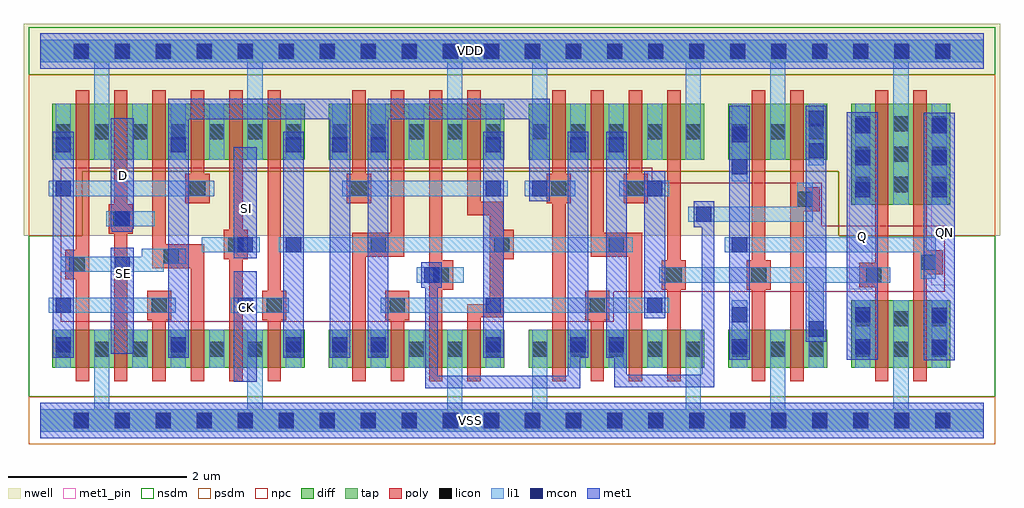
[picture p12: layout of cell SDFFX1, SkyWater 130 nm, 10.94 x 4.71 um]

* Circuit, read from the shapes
.subckt SDFFX1 CK D Q QN SE SI VDD VSS
XM1 VSS SE n1 VSS sky130_fd_pr__nfet_01v8 w=0.425 l=0.15
XM2 n2 D VSS VSS sky130_fd_pr__nfet_01v8 w=0.425 l=0.15
XM3 n3 n1 n2 VSS sky130_fd_pr__nfet_01v8 w=0.425 l=0.15
XM4 n4 SE n3 VSS sky130_fd_pr__nfet_01v8 w=0.425 l=0.15
XM5 VSS SI n4 VSS sky130_fd_pr__nfet_01v8 w=0.425 l=0.15
XM6 n5 CK VSS VSS sky130_fd_pr__nfet_01v8 w=0.425 l=0.15
XM7 n6 n5 n3 VSS sky130_fd_pr__nfet_01v8 w=0.425 l=0.15
XM8 n7 n8 n6 VSS sky130_fd_pr__nfet_01v8 w=0.425 l=0.15
XM9 VSS n9 n7 VSS sky130_fd_pr__nfet_01v8 w=0.425 l=0.15
XM10 n8 n5 VSS VSS sky130_fd_pr__nfet_01v8 w=0.425 l=0.15
XM11 n9 n6 VSS VSS sky130_fd_pr__nfet_01v8 w=0.425 l=0.15
XM12 n10 n8 n9 VSS sky130_fd_pr__nfet_01v8 w=0.425 l=0.15
XM13 n11 n5 n10 VSS sky130_fd_pr__nfet_01v8 w=0.425 l=0.15
XM14 VSS n12 n11 VSS sky130_fd_pr__nfet_01v8 w=0.425 l=0.15
XM15 VSS n12 n13 VSS sky130_fd_pr__nfet_01v8 w=0.425 l=0.15
XM16 n12 n10 VSS VSS sky130_fd_pr__nfet_01v8 w=0.425 l=0.15
XM17 VSS n12 Q VSS sky130_fd_pr__nfet_01v8 w=0.76 l=0.15
XM18 QN n13 VSS VSS sky130_fd_pr__nfet_01v8 w=0.76 l=0.15
XM19 VDD SE n1 VDD sky130_fd_pr__pfet_01v8 w=0.625 l=0.15
XM20 n14 D VDD VDD sky130_fd_pr__pfet_01v8 w=0.625 l=0.15
XM21 n3 SE n14 VDD sky130_fd_pr__pfet_01v8 w=0.625 l=0.15
XM22 n15 n1 n3 VDD sky130_fd_pr__pfet_01v8 w=0.625 l=0.15
XM23 VDD SI n15 VDD sky130_fd_pr__pfet_01v8 w=0.625 l=0.15
XM24 n5 CK VDD VDD sky130_fd_pr__pfet_01v8 w=0.625 l=0.15
XM25 n6 n8 n3 VDD sky130_fd_pr__pfet_01v8 w=0.625 l=0.15
XM26 n16 n5 n6 VDD sky130_fd_pr__pfet_01v8 w=0.625 l=0.15
XM27 VDD n9 n16 VDD sky130_fd_pr__pfet_01v8 w=0.625 l=0.15
XM28 n8 n5 VDD VDD sky130_fd_pr__pfet_01v8 w=0.625 l=0.15
XM29 n9 n6 VDD VDD sky130_fd_pr__pfet_01v8 w=0.625 l=0.15
XM30 n10 n5 n9 VDD sky130_fd_pr__pfet_01v8 w=0.625 l=0.15
XM31 n17 n8 n10 VDD sky130_fd_pr__pfet_01v8 w=0.625 l=0.15
XM32 VDD n12 n17 VDD sky130_fd_pr__pfet_01v8 w=0.625 l=0.15
XM33 VDD n12 n13 VDD sky130_fd_pr__pfet_01v8 w=0.625 l=0.15
XM34 n12 n10 VDD VDD sky130_fd_pr__pfet_01v8 w=0.625 l=0.15
XM35 VDD n12 Q VDD sky130_fd_pr__pfet_01v8 w=1.13 l=0.15
XM36 QN n13 VDD VDD sky130_fd_pr__pfet_01v8 w=1.13 l=0.15
.ends

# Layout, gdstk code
from math import pi, radians
import gdstk
lib = gdstk.Library(unit=1e-6, precision=1e-09)
def R(c, l, rs):  # rectangles x0, y0, x1, y1
    for r in rs: c.add(gdstk.rectangle(r[:2], r[2:], *l))
def A(c, l, x, y, w, h, nx, ny, dx, dy):  # array of equal rectangles
    R(c, l, [(x+i*dx, y+j*dy, x+i*dx+w, y+j*dy+h) for i in range(nx) for j in range(ny)])
def P(c, l, *ps):  # polygons
    for p in ps: c.add(gdstk.Polygon(p, *l))
nwell = (64, 20)
diff = (65, 20)
tap = (65, 44)
poly = (66, 20)
licon = (66, 44)
li1 = (67, 20)
mcon = (67, 44)
met1_pin = (68, 16)
met1 = (68, 20)
nsdm = (93, 44)
psdm = (94, 20)
npc = (95, 20)

pyl1con_c_cdns_758728262 = lib.new_cell('PYL1CON_C_CDNS_758728262102')
R(pyl1con_c_cdns_758728262, poly, [(-0.135,-0.165,0.135,0.165)])
R(pyl1con_c_cdns_758728262, licon, [(-0.085,-0.085,0.085,0.085)])
R(pyl1con_c_cdns_758728262, npc, [(-0.185,-0.185,0.185,0.185)])

l1m1_c_cdns_758728262101 = lib.new_cell('L1M1_C_CDNS_7587282621012')
R(l1m1_c_cdns_758728262101, li1, [(-0.085,-0.525,0.085,0.525)])
A(l1m1_c_cdns_758728262101, mcon, -0.085, -0.445, 0.17, 0.17, 1, 3, 0, 0.36)
R(l1m1_c_cdns_758728262101, met1, [(-0.115,-0.505,0.115,0.505)])

c_l1m1_c_cdns_758728262101 = lib.new_cell('L1M1_C_CDNS_758728262101')
R(c_l1m1_c_cdns_758728262101, li1, [(-0.085,-0.165,0.085,0.165)])
R(c_l1m1_c_cdns_758728262101, mcon, [(-0.085,-0.085,0.085,0.085)])
R(c_l1m1_c_cdns_758728262101, met1, [(-0.115,-0.145,0.115,0.145)])

l1m1_c_cdns_758728262104 = lib.new_cell('L1M1_C_CDNS_758728262104')
R(l1m1_c_cdns_758728262104, li1, [(-0.085,-0.345,0.085,0.345)])
R(l1m1_c_cdns_758728262104, mcon, [(-0.085,-0.265,0.085,-0.095), (-0.085,0.095,0.085,0.265)])
R(l1m1_c_cdns_758728262104, met1, [(-0.115,-0.325,0.115,0.325)])

l1m1_c_cdns_758728262100 = lib.new_cell('L1M1_C_CDNS_758728262100')
R(l1m1_c_cdns_758728262100, li1, [(-0.165,-0.085,0.165,0.085)])
R(l1m1_c_cdns_758728262100, mcon, [(-0.085,-0.085,0.085,0.085)])
R(l1m1_c_cdns_758728262100, met1, [(-0.115,-0.145,0.115,0.145)])

l1m1_c_cdns_758728262106 = lib.new_cell('L1M1_C_CDNS_758728262106')
R(l1m1_c_cdns_758728262106, li1, [(-0.085,-0.085,0.085,0.085)])
R(l1m1_c_cdns_758728262106, mcon, [(-0.085,-0.085,0.085,0.085)])
R(l1m1_c_cdns_758728262106, met1, [(-0.115,-0.145,0.115,0.145)])

licondiff_c_cdns_7587282 = lib.new_cell('LICONDIFF_C_CDNS_7587282621010')
R(licondiff_c_cdns_7587282, diff, [(-0.125,-0.145,0.125,0.145)])
R(licondiff_c_cdns_7587282, licon, [(-0.085,-0.085,0.085,0.085), (-0.085,-0.085,0.085,0.085)])

c_pyl1con_c_cdns_758728262 = lib.new_cell('PYL1CON_C_CDNS_7587282621017')
R(c_pyl1con_c_cdns_758728262, poly, [(-0.135,-0.29,0.135,0.29)])
R(c_pyl1con_c_cdns_758728262, licon, [(-0.085,-0.085,0.085,0.085)])
R(c_pyl1con_c_cdns_758728262, npc, [(-0.185,-0.185,0.185,0.185)])

c_pyl1con_c_cdns_758728262_ = lib.new_cell('PYL1CON_C_CDNS_7587282621020')
R(c_pyl1con_c_cdns_758728262_, poly, [(-0.135,-0.37,0.135,0.21)])
R(c_pyl1con_c_cdns_758728262_, licon, [(-0.085,-0.085,0.085,0.085)])
R(c_pyl1con_c_cdns_758728262_, npc, [(-0.185,-0.185,0.185,0.185)])

sdffx1 = lib.new_cell('SDFFX1')
R(sdffx1, nwell, [(-0.18,2.07,10.76,4.445)])
R(sdffx1, diff, [(0.135,0.59,2.965,1.015), (3.235,0.59,5.205,1.015), (5.475,0.59,7.445,1.015), (7.715,0.59,8.825,1.015), (9.095,0.59,10.205,1.35), (9.095,2.42,10.205,3.55), (0.135,2.925,2.965,3.55), (3.235,2.925,5.205,3.55), (5.475,2.925,7.445,3.55), (7.715,2.925,8.825,3.55)])
R(sdffx1, poly, [(0.4,0.44,0.55,3.7), (0.83,0.44,0.98,3.7), (1.26,0.44,1.41,1.165), (2.12,0.44,2.27,3.7), (2.55,0.44,2.7,3.7), (3.93,0.44,4.08,1.165), (4.36,0.44,4.51,3.7), (5.74,0.44,5.89,3.7), (6.17,0.44,6.32,1.165), (7.03,0.44,7.18,3.7), (7.98,0.44,8.13,3.7), (8.41,0.44,8.56,3.7), (9.36,0.44,9.51,3.7), (9.79,0.44,9.94,3.7), (1.69,2.725,1.84,3.7), (3.5,2.725,3.65,3.7), (6.6,2.725,6.75,3.7)])
P(sdffx1, poly, [(1.84,1.92),(1.41,1.92),(1.41,3.7),(1.26,3.7),(1.26,1.77),(1.69,1.77),(1.69,0.44),(1.84,0.44)],
  [(4.08,3.7),(3.93,3.7),(3.93,2.045),(3.5,2.045),(3.5,0.44),(3.65,0.44),(3.65,1.895),(4.08,1.895)],
  [(5.19,2.45),(4.94,2.45),(4.94,3.7),(4.79,3.7),(4.79,2.3),(5.04,2.3),(5.04,1.305),(4.79,1.305),(4.79,0.44),(4.94,0.44),(4.94,1.155),(5.19,1.155)],
  [(6.75,2.045),(6.32,2.045),(6.32,3.7),(6.17,3.7),(6.17,1.895),(6.6,1.895),(6.6,0.44),(6.75,0.44)])
A(sdffx1, licon, 0.375, -0.085, 0.17, 0.17, 22, 2, 0.46, 4.14)
A(sdffx1, licon, 0.605, 0.715, 0.17, 0.17, 3, 2, 0.86, 2.435)
A(sdffx1, licon, 5.515, 0.715, 0.17, 0.17, 3, 2, 0.43, 2.435)
A(sdffx1, licon, 7.755, 0.715, 0.17, 0.17, 3, 2, 0.43, 2.435)
A(sdffx1, licon, 9.135, 0.715, 0.17, 0.17, 3, 2, 0.43, 0.34)
A(sdffx1, licon, 9.135, 2.56, 0.17, 0.17, 3, 3, 0.43, 0.34)
R(sdffx1, licon, [(0.175,0.715,0.345,0.885), (2.755,0.715,2.925,0.885), (3.275,0.715,3.445,0.885), (3.705,0.715,3.875,0.885), (4.565,0.715,4.735,0.885), (4.995,0.715,5.165,0.885), (7.235,0.715,7.405,0.885), (0.175,3.15,0.345,3.32), (2.755,3.15,2.925,3.32), (3.275,3.15,3.445,3.32), (3.705,3.15,3.875,3.32), (4.565,3.15,4.735,3.32), (4.995,3.15,5.165,3.32), (7.235,3.15,7.405,3.32)])
A(sdffx1, li1, 0.175, 0.59, 0.17, 0.425, 3, 1, 1.29, 0)
A(sdffx1, li1, 0.175, 2.925, 0.17, 0.625, 3, 1, 1.29, 0)
R(sdffx1, li1, [(3.275,0.59,3.445,1.015), (3.705,0.59,3.875,1.015), (4.995,0.59,5.165,1.015), (5.945,0.59,6.115,1.015), (6.375,0.59,6.545,1.015), (7.755,0.59,7.925,1.015), (9.135,0.59,9.305,1.35), (9.995,0.59,10.165,1.35), (9.135,2.42,9.305,3.55), (9.995,2.42,10.165,3.55), (3.275,2.925,3.445,3.55), (3.705,2.925,3.875,3.55), (4.995,2.925,5.165,3.55), (5.945,2.925,6.115,3.55), (6.375,2.925,6.545,3.55), (7.755,2.925,7.925,3.55), (8.615,2.925,8.785,3.55)])
P(sdffx1, li1, [(1.635,1.925),(1.14,1.925),(1.14,1.835),(0.23,1.835),(0.23,1.665),(1.385,1.665),(1.385,1.755),(1.635,1.755)],
  [(9.53,1.715),(6.94,1.715),(6.94,1.545),(8.615,1.545),(8.615,0.59),(8.785,0.59),(8.785,1.545),(9.53,1.545)],
  [(10.58,4.265),(0,4.265),(0,4.015),(0.605,4.015),(0.605,2.925),(0.775,2.925),(0.775,4.015),(2.325,4.015),(2.325,2.925),(2.495,2.925),(2.495,4.015),(4.565,4.015),(4.565,2.925),(4.735,2.925),(4.735,4.015),(5.515,4.015),(5.515,2.925),(5.685,2.925),(5.685,4.015),(7.235,4.015),(7.235,2.925),(7.405,2.925),(7.405,4.015),(8.185,4.015),(8.185,2.925),(8.355,2.925),(8.355,4.015),(9.565,4.015),(9.565,2.42),(9.735,2.42),(9.735,4.015),(10.58,4.015)],
  [(10.58,0.125),(9.735,0.125),(9.735,1.35),(9.565,1.35),(9.565,0.125),(8.355,0.125),(8.355,1.015),(8.185,1.015),(8.185,0.125),(7.405,0.125),(7.405,1.015),(7.235,1.015),(7.235,0.125),(5.685,0.125),(5.685,1.015),(5.515,1.015),(5.515,0.125),(4.735,0.125),(4.735,1.015),(4.565,1.015),(4.565,0.125),(2.495,0.125),(2.495,1.015),(2.325,1.015),(2.325,0.125),(0.775,0.125),(0.775,1.015),(0.605,1.015),(0.605,0.125),(0,0.125),(0,-0.125),(10.58,-0.125)])
A(sdffx1, mcon, 0.375, -0.085, 0.17, 0.17, 22, 2, 0.46, 4.14)
R(sdffx1, met1_pin, [(2.17,0.435,2.43,1.675), (0.79,0.745,1.05,1.935), (9.07,1.47,9.33,2.71), (9.99,1.515,10.25,2.755), (2.17,1.82,2.43,3.06), (0.79,2.15,1.05,3.39)])
R(sdffx1, met1, [(9.905,0.675,10.25,3.45), (9.045,0.68,9.39,3.455)])
P(sdffx1, met1, [(6.145,3.235),(5.915,3.235),(5.915,0.5),(4.46,0.5),(4.46,1.64),(4.32,1.64),(4.32,0.36),(6.055,0.36),(6.055,0.705),(6.145,0.705)],
  [(7.555,2.31),(7.415,2.31),(7.415,0.515),(6.575,0.515),(6.575,3.235),(6.345,3.235),(6.345,0.705),(6.435,0.705),(6.435,0.375),(7.555,0.375)])
R(sdffx1, nsdm, [(-0.125,3.875,10.705,4.405)])
P(sdffx1, nsdm, [(10.705,2.07),(8.955,2.07),(8.955,2.795),(0.475,2.795),(0.475,2.07),(-0.125,2.07),(-0.125,0.265),(10.705,0.265)])
R(sdffx1, psdm, [(-0.125,-0.265,10.705,0.265)])
P(sdffx1, psdm, [(10.705,3.875),(-0.125,3.875),(-0.125,2.07),(0.475,2.07),(0.475,2.795),(8.955,2.795),(8.955,2.07),(10.705,2.07)])
P(sdffx1, npc, [(10.14,2.18),(8.76,2.18),(8.76,2.665),(6.86,2.665),(6.86,2.835),(0.23,2.835),(0.23,1.105),(6.43,1.105),(6.43,1.445),(10.14,1.445)])
sdffx1.add(gdstk.FlexPath([(4.75,1.63),(4.225,1.63)], 0.17, ends="flush", simple_path=True, layer=67, datatype=20))  # li1
sdffx1.add(gdstk.FlexPath([(5.435,2.6),(6,2.6)], 0.17, ends="flush", simple_path=True, layer=67, datatype=20))  # li1
sdffx1.add(gdstk.FlexPath([(3.39,2.6),(5.245,2.6)], 0.17, ends="flush", simple_path=True, layer=67, datatype=20))  # li1
sdffx1.add(gdstk.FlexPath([(0.095,1.29),(1.52,1.29)], 0.17, ends="flush", simple_path=True, layer=67, datatype=20))  # li1
sdffx1.add(gdstk.FlexPath([(4.22,2.925),(4.22,3.55)], 0.17, ends="flush", simple_path=True, layer=67, datatype=20))  # li1
sdffx1.add(gdstk.FlexPath([(4.22,0.59),(4.22,1.015)], 0.17, ends="flush", simple_path=True, layer=67, datatype=20))  # li1
sdffx1.add(gdstk.FlexPath([(2.36,1.97),(1.815,1.97)], 0.17, ends="flush", simple_path=True, layer=67, datatype=20))  # li1
sdffx1.add(gdstk.FlexPath([(2.79,1.29),(2.245,1.29)], 0.17, ends="flush", simple_path=True, layer=67, datatype=20))  # li1
sdffx1.add(gdstk.FlexPath([(2.675,1.97),(6.645,1.97)], 0.17, ends="flush", simple_path=True, layer=67, datatype=20))  # li1
sdffx1.add(gdstk.FlexPath([(6.89,0.59),(6.89,1.015)], 0.17, ends="flush", simple_path=True, layer=67, datatype=20))  # li1
sdffx1.add(gdstk.FlexPath([(6.89,2.925),(6.89,3.55)], 0.17, ends="flush", simple_path=True, layer=67, datatype=20))  # li1
sdffx1.add(gdstk.FlexPath([(6.49,2.6),(7.055,2.6)], 0.17, ends="flush", simple_path=True, layer=67, datatype=20))  # li1
sdffx1.add(gdstk.FlexPath([(0.095,2.6),(1.95,2.6)], 0.17, ends="flush", simple_path=True, layer=67, datatype=20))  # li1
sdffx1.add(gdstk.FlexPath([(1.12,2.925),(1.12,3.55)], 0.17, ends="flush", simple_path=True, layer=67, datatype=20))  # li1
sdffx1.add(gdstk.FlexPath([(1.98,2.925),(1.98,3.55)], 0.17, ends="flush", simple_path=True, layer=67, datatype=20))  # li1
sdffx1.add(gdstk.FlexPath([(7.265,2.31),(8.575,2.31),(8.575,2.665)], 0.17, ends="flush", simple_path=True, layer=67, datatype=20))  # li1
sdffx1.add(gdstk.FlexPath([(3.82,1.29),(7.055,1.29)], 0.17, ends="flush", simple_path=True, layer=67, datatype=20))  # li1
sdffx1.add(gdstk.FlexPath([(1.12,0.59),(1.12,1.015)], 0.17, ends="flush", simple_path=True, layer=67, datatype=20))  # li1
sdffx1.add(gdstk.FlexPath([(1.98,0.59),(1.98,1.015)], 0.17, ends="flush", simple_path=True, layer=67, datatype=20))  # li1
sdffx1.add(gdstk.FlexPath([(1.285,2.26),(0.74,2.26)], 0.17, ends="flush", simple_path=True, layer=67, datatype=20))  # li1
sdffx1.add(gdstk.FlexPath([(7.84,1.97),(9.955,1.97),(9.955,1.59)], 0.17, ends="flush", simple_path=True, layer=67, datatype=20))  # li1
sdffx1.add(gdstk.FlexPath([(6.89,1.145),(6.89,2.795)], 0.23, ends="flush", simple_path=True, layer=68, datatype=20))  # met1
sdffx1.add(gdstk.FlexPath([(3.79,0.705),(3.79,3.49),(5.6,3.49),(5.6,2.475)], 0.23, ends="flush", simple_path=True, layer=68, datatype=20))  # met1
sdffx1.add(gdstk.FlexPath([(1.55,0.705),(1.55,3.49),(3.36,3.49),(3.36,0.705)], 0.23, ends="flush", simple_path=True, layer=68, datatype=20))  # met1
sdffx1.add(gdstk.FlexPath([(0.26,0.705),(0.26,3.235)], 0.23, ends="flush", simple_path=True, layer=68, datatype=20))  # met1
sdffx1.add(gdstk.FlexPath([(5.08,0.705),(5.08,3.235)], 0.23, ends="flush", simple_path=True, layer=68, datatype=20))  # met1
sdffx1.add(gdstk.FlexPath([(2.84,0.705),(2.84,3.235)], 0.23, ends="flush", simple_path=True, layer=68, datatype=20))  # met1
sdffx1.add(gdstk.FlexPath([(2.3,0.435),(2.3,1.675)], 0.26, ends="flush", simple_path=True, layer=68, datatype=20))  # met1
sdffx1.add(gdstk.FlexPath([(2.3,1.82),(2.3,3.06)], 0.26, ends="flush", simple_path=True, layer=68, datatype=20))  # met1
sdffx1.add(gdstk.FlexPath([(0,4.14),(10.58,4.14)], 0.4, ends="flush", simple_path=True, layer=68, datatype=20))  # met1
sdffx1.add(gdstk.FlexPath([(0,0),(10.58,0)], 0.4, ends="flush", simple_path=True, layer=68, datatype=20))  # met1
sdffx1.add(gdstk.FlexPath([(7.84,0.68),(7.84,3.53)], 0.23, ends="flush", simple_path=True, layer=68, datatype=20))  # met1
sdffx1.add(gdstk.FlexPath([(8.7,0.88),(8.7,3.53)], 0.23, ends="flush", simple_path=True, layer=68, datatype=20))  # met1
sdffx1.add(gdstk.FlexPath([(0.92,2.15),(0.92,3.39)], 0.26, ends="flush", simple_path=True, layer=68, datatype=20))  # met1
sdffx1.add(gdstk.FlexPath([(0.92,0.745),(0.92,1.935)], 0.26, ends="flush", simple_path=True, layer=68, datatype=20))  # met1
sdffx1.add(gdstk.FlexPath([(0,0),(10.58,0)], 0.4, ends="flush", simple_path=True, layer=68, datatype=16))  # met1_pin
sdffx1.add(gdstk.FlexPath([(0,4.14),(10.58,4.14)], 0.4, ends="flush", simple_path=True, layer=68, datatype=16))  # met1_pin
sdffx1.add(gdstk.FlexPath([(0,0),(10.58,0)], 0.25, ends="flush", simple_path=True, layer=65, datatype=44))  # tap
sdffx1.add(gdstk.FlexPath([(0,4.14),(10.58,4.14)], 0.25, ends="flush", simple_path=True, layer=65, datatype=44))  # tap
sdffx1.add(gdstk.Reference(pyl1con_c_cdns_758728262, (5.815,2.6), rotation=pi))
sdffx1.add(gdstk.Reference(pyl1con_c_cdns_758728262, (8.055,1.63), rotation=pi, x_reflection=True))
sdffx1.add(gdstk.Reference(pyl1con_c_cdns_758728262, (7.105,1.63), rotation=pi, x_reflection=True))
sdffx1.add(gdstk.Reference(pyl1con_c_cdns_758728262, (5.175,1.97), rotation=pi))
sdffx1.add(gdstk.Reference(pyl1con_c_cdns_758728262, (2.625,1.29), x_reflection=True))
sdffx1.add(gdstk.Reference(pyl1con_c_cdns_758728262, (2.195,1.97), x_reflection=True))
sdffx1.add(gdstk.Reference(pyl1con_c_cdns_758728262, (1.765,2.6), rotation=pi))
sdffx1.add(gdstk.Reference(pyl1con_c_cdns_758728262, (1.335,1.29), x_reflection=True))
sdffx1.add(gdstk.Reference(pyl1con_c_cdns_758728262, (4.005,1.29), rotation=pi))
sdffx1.add(gdstk.Reference(pyl1con_c_cdns_758728262, (3.575,2.6), x_reflection=True))
sdffx1.add(gdstk.Reference(pyl1con_c_cdns_758728262, (6.675,2.6), rotation=pi))
sdffx1.add(gdstk.Reference(pyl1con_c_cdns_758728262, (6.245,1.29), x_reflection=True))
sdffx1.add(gdstk.Reference(pyl1con_c_cdns_758728262, (9.955,1.775), rotation=3*pi/2, x_reflection=True))
sdffx1.add(gdstk.Reference(pyl1con_c_cdns_758728262, (0.415,1.75)))
sdffx1.add(gdstk.Reference(pyl1con_c_cdns_758728262, (4.495,1.63)))
sdffx1.add(gdstk.Reference(pyl1con_c_cdns_758728262, (8.575,2.48), rotation=pi/2, x_reflection=True))
sdffx1.add(gdstk.Reference(pyl1con_c_cdns_758728262, (0.905,2.26)))
sdffx1.add(gdstk.Reference(pyl1con_c_cdns_758728262, (9.345,1.63), rotation=3*pi/2, x_reflection=True))
sdffx1.add(gdstk.Reference(l1m1_c_cdns_758728262101, (10.08,2.945)))
sdffx1.add(gdstk.Reference(l1m1_c_cdns_758728262101, (9.22,2.945)))
sdffx1.add(gdstk.Reference(c_l1m1_c_cdns_758728262101, (3.36,3.09)))
sdffx1.add(gdstk.Reference(c_l1m1_c_cdns_758728262101, (3.36,0.85)))
sdffx1.add(gdstk.Reference(c_l1m1_c_cdns_758728262101, (1.55,3.09)))
sdffx1.add(gdstk.Reference(c_l1m1_c_cdns_758728262101, (1.55,0.85)))
sdffx1.add(gdstk.Reference(c_l1m1_c_cdns_758728262101, (0.26,3.09)))
sdffx1.add(gdstk.Reference(c_l1m1_c_cdns_758728262101, (0.26,0.85)))
sdffx1.add(gdstk.Reference(c_l1m1_c_cdns_758728262101, (5.08,0.85), rotation=pi, x_reflection=True))
sdffx1.add(gdstk.Reference(c_l1m1_c_cdns_758728262101, (5.08,3.09), rotation=pi, x_reflection=True))
sdffx1.add(gdstk.Reference(c_l1m1_c_cdns_758728262101, (2.84,0.85)))
sdffx1.add(gdstk.Reference(c_l1m1_c_cdns_758728262101, (2.84,3.09)))
sdffx1.add(gdstk.Reference(c_l1m1_c_cdns_758728262101, (3.79,3.09)))
sdffx1.add(gdstk.Reference(c_l1m1_c_cdns_758728262101, (3.79,0.85)))
sdffx1.add(gdstk.Reference(c_l1m1_c_cdns_758728262101, (6.03,0.85)))
sdffx1.add(gdstk.Reference(c_l1m1_c_cdns_758728262101, (6.03,3.09)))
sdffx1.add(gdstk.Reference(c_l1m1_c_cdns_758728262101, (6.46,0.85), rotation=pi, x_reflection=True))
sdffx1.add(gdstk.Reference(c_l1m1_c_cdns_758728262101, (6.46,3.09), rotation=pi, x_reflection=True))
sdffx1.add(gdstk.Reference(c_l1m1_c_cdns_758728262101, (8.7,1.025), rotation=pi, x_reflection=True))
sdffx1.add(gdstk.Reference(l1m1_c_cdns_758728262104, (8.7,3.205), rotation=pi, x_reflection=True))
sdffx1.add(gdstk.Reference(l1m1_c_cdns_758728262104, (10.08,1)))
sdffx1.add(gdstk.Reference(l1m1_c_cdns_758728262104, (9.22,1.005)))
sdffx1.add(gdstk.Reference(l1m1_c_cdns_758728262104, (7.84,3.025)))
sdffx1.add(gdstk.Reference(l1m1_c_cdns_758728262104, (7.84,1.005)))
sdffx1.add(gdstk.Reference(l1m1_c_cdns_758728262100, (5.6,2.6)))
sdffx1.add(gdstk.Reference(l1m1_c_cdns_758728262100, (6.89,2.6)))
sdffx1.add(gdstk.Reference(l1m1_c_cdns_758728262100, (6.89,1.29)))
sdffx1.add(gdstk.Reference(l1m1_c_cdns_758728262100, (2.3,1.29), x_reflection=True))
sdffx1.add(gdstk.Reference(l1m1_c_cdns_758728262100, (2.3,1.97), x_reflection=True))
sdffx1.add(gdstk.Reference(l1m1_c_cdns_758728262100, (2.84,1.97)))
sdffx1.add(gdstk.Reference(l1m1_c_cdns_758728262100, (5.08,2.6), rotation=pi, x_reflection=True))
sdffx1.add(gdstk.Reference(l1m1_c_cdns_758728262100, (5.08,1.29), rotation=pi, x_reflection=True))
sdffx1.add(gdstk.Reference(l1m1_c_cdns_758728262100, (0.92,1.75), x_reflection=True))
sdffx1.add(gdstk.Reference(l1m1_c_cdns_758728262100, (0.92,2.26), x_reflection=True))
sdffx1.add(gdstk.Reference(l1m1_c_cdns_758728262100, (7.84,1.97)))
sdffx1.add(gdstk.Reference(l1m1_c_cdns_758728262100, (0.26,1.29)))
sdffx1.add(gdstk.Reference(l1m1_c_cdns_758728262100, (0.26,2.6)))
sdffx1.add(gdstk.Reference(l1m1_c_cdns_758728262106, (7.44,2.31)))
sdffx1.add(gdstk.Reference(l1m1_c_cdns_758728262106, (4.39,1.63)))
sdffx1.add(gdstk.Reference(licondiff_c_cdns_7587282, (4.22,3.235)))
sdffx1.add(gdstk.Reference(licondiff_c_cdns_7587282, (4.22,0.8)))
sdffx1.add(gdstk.Reference(licondiff_c_cdns_7587282, (6.89,3.235)))
sdffx1.add(gdstk.Reference(licondiff_c_cdns_7587282, (6.89,0.8)))
sdffx1.add(gdstk.Reference(licondiff_c_cdns_7587282, (1.98,0.8)))
sdffx1.add(gdstk.Reference(licondiff_c_cdns_7587282, (1.12,0.8)))
sdffx1.add(gdstk.Reference(licondiff_c_cdns_7587282, (1.98,3.235)))
sdffx1.add(gdstk.Reference(licondiff_c_cdns_7587282, (1.12,3.235)))
sdffx1.add(gdstk.Reference(c_pyl1con_c_cdns_758728262, (3.79,1.97), rotation=pi/2, x_reflection=True))
sdffx1.add(gdstk.Reference(c_pyl1con_c_cdns_758728262, (6.46,1.97), rotation=pi/2))
sdffx1.add(gdstk.Reference(c_pyl1con_c_cdns_758728262_, (1.47,1.84), rotation=pi/2))
sdffx1.add(gdstk.Label('Q', (9.215,2.065), layer=68, texttype=5))
sdffx1.add(gdstk.Label('SE', (0.935,1.65), layer=68, texttype=5))
sdffx1.add(gdstk.Label('D', (0.935,2.745), layer=68, texttype=5))
sdffx1.add(gdstk.Label('CK', (2.315,1.265), layer=68, texttype=5))
sdffx1.add(gdstk.Label('SI', (2.315,2.375), layer=68, texttype=5))
sdffx1.add(gdstk.Label('QN', (10.135,2.11), layer=68, texttype=5))
sdffx1.add(gdstk.Label('VSS', (4.825,0.005), layer=68, texttype=5))
sdffx1.add(gdstk.Label('VDD', (4.825,4.145), layer=68, texttype=5))

lib.write_gds('SDFFX1.gds')
